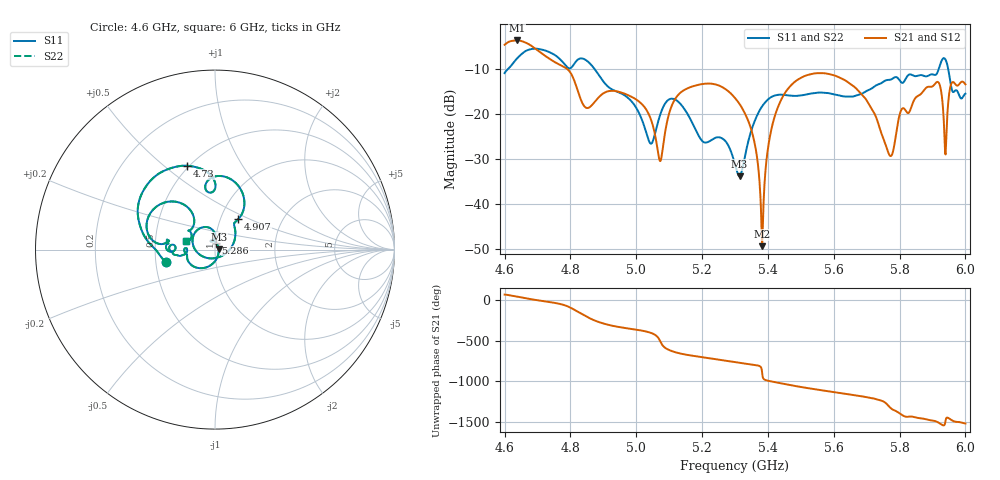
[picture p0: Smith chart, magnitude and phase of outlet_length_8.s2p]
! TOUCHSTONE file generated by CST MICROWAVE STUDIO
! Date and time: Mon Dec  2 04:50:24 2024
! Project name: test_tuning.cst
! Parameters = {airCoaxOuterDiameter=3; chamferAngle=45; chamferWidth=24; connectorLength=10; drillingHoleDiameter=4.1; feedLength=60; flareDiameter=130; flareLength=70; gratingDistance=0; gratingGap=1.90274; outletLength=50; polarizerLength=134; probe1Diameter=1.3; probe1Distance=14; probe1Length=1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
! Header version: 2024
! Port assignment regex: !\s*Touchstone port\s*([0-9]+)\s*=\s*(CST MWS port|CST DES external port|CST DES block port)\s*(.+)\s* \(\"(.*)\"\)(\s*mode\s*([0-9]+))?.*
! Touchstone port assignment:
! Touchstone port 1 = CST MWS port 1 ("Input1")
! Touchstone port 2 = CST MWS port 2 ("Input2")
# GHz S MA R 50
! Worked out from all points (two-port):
!   1001 points, 4.6 GHz to 6 GHz, reference 50 ohm
!   highest |S21| = -3.74 dB at 4.638 GHz (marker M1); lowest = -49.3 dB at 5.383 GHz (marker M2)
!   |S21| within 3 dB of the highest: start of sweep to 4.715 GHz
!   lowest |S11| = -33.8 dB at 5.314 GHz (marker M3), VSWR 1.04, Z = 52.1 + j0.14 ohm
!   |S11| at or under -10 dB: start of sweep to 4.611336 GHz; 4.873 GHz to 5.919 GHz (1.047 GHz wide, 19.4 % of centre); 5.948 GHz to end of sweep
!   |S22| runs from -33.8 to -5.6 dB; largest |S21 - S12| = 6.4e-07
!   S11 on the Smith chart (normalised r, x): 4.6 GHz: 0.57, -0.09; 4.73 GHz: 0.49, +0.60; 4.907 GHz: 1.21, +0.43; 5.286 GHz: 1.01, +0.08; 6 GHz: 0.72, +0.07
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4.6  0.2827 -165.3  0.5822 68.1  0.5822 68.1  0.2827 -165.3
4.6378  0.4109 167.4  0.6501 42.8  0.6501 42.8  0.4109 167.4
4.7302  0.4929 108.5  0.4217 -20.3  0.4217 -20.3  0.4929 108.5
4.8338  0.4113 84.5  0.1373 -169.0  0.1373 -169.0  0.4113 84.5
4.9066  0.2134 52.6  0.1738 63.8  0.1738 63.8  0.2134 52.6
5.0214  0.07811 -3.2  0.1232 -19.8  0.1232 -19.8  0.07811 -3.2
5.0676  0.085 -157.5  0.03461 -110.0  0.03461 -110.0  0.085 -157.5
5.1348  0.1281 105.9  0.1722 60.3  0.1722 60.3  0.1281 105.9
5.286  0.03962 83.9  0.1698 -36.3  0.1698 -36.3  0.03962 83.9
5.3  0.02759 58.6  0.1497 -44.5  0.1497 -44.5  0.02759 58.6
5.314  0.02034 3.8  0.1281 -52.4  0.1281 -52.4  0.02034 3.8
5.3574  0.0789 -99.1  0.05156 -77.2  0.05156 -77.2  0.0789 -99.1
5.3826  0.1213 -122.2  0.003408 178.6  0.003409 178.6  0.1213 -122.2
5.4274  0.1616 -153.8  0.1109 63.6  0.1109 63.6  0.1616 -153.8
5.5338  0.1683 -174.9  0.2769 -13.2  0.2769 -13.2  0.1683 -174.9
5.6724  0.1613 -174.2  0.1839 -98.7  0.1839 -98.7  0.1613 -174.2
5.7676  0.2376 -176.9  0.03574 130.9  0.03574 130.9  0.2376 -176.9
5.8082  0.2199 177.4  0.1143 21.4  0.1143 21.4  0.2199 177.4
5.916  0.2927 173.9  0.2257 -65.1  0.2257 -65.1  0.2927 173.9
5.9398  0.3975 140.8  0.03537 -45.0  0.03537 -45.0  0.3975 140.8
5.958  0.1907 127.4  0.2185 -39.0  0.2185 -39.0  0.1907 127.4
6  0.167 163.2  0.2122 -81.7  0.2122 -81.7  0.167 163.2
